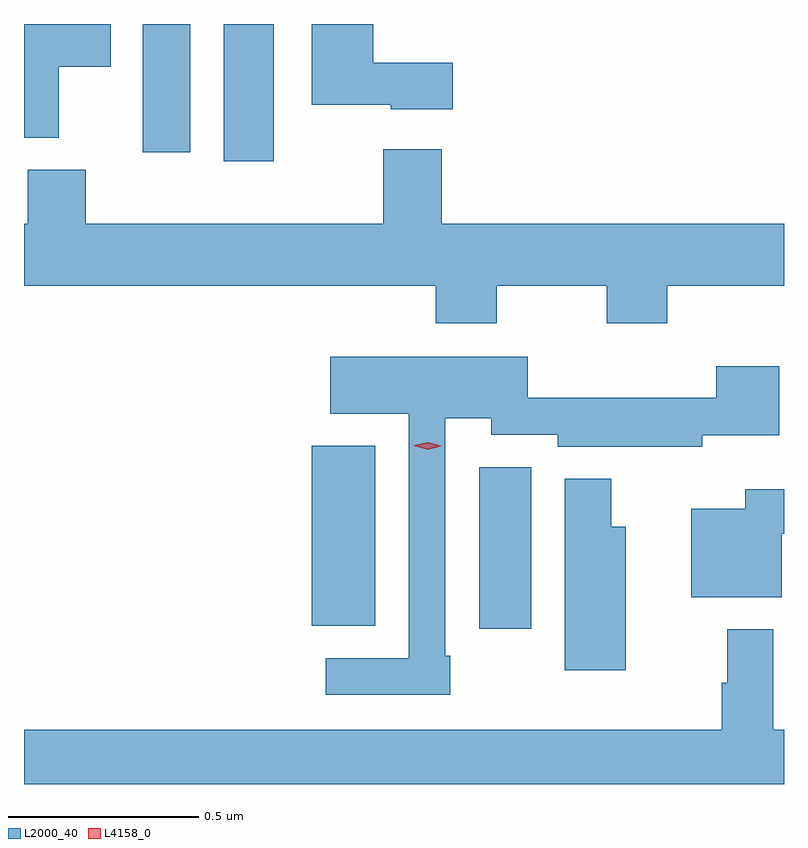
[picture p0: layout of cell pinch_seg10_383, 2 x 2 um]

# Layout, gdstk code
import gdstk
lib = gdstk.Library(unit=1e-6, precision=1e-09)
def R(c, l, rs):  # rectangles x0, y0, x1, y1
    for r in rs: c.add(gdstk.rectangle(r[:2], r[2:], *l))
def P(c, l, *ps):  # polygons
    for p in ps: c.add(gdstk.Polygon(p, *l))
L2000_40 = (2000, 40)
L4158_0 = (4158, 0)

pinch_seg10_383 = lib.new_cell('pinch_seg10_383')
R(pinch_seg10_383, L2000_40, [(481.043,1252.794,481.18,1253.219), (480.602,1252.801,480.769,1253.275), (480.371,1254.024,480.502,1254.385), (480.158,1254.048,480.283,1254.385)])
P(pinch_seg10_383, L2000_40, [(480.973,1254.283),(480.764,1254.283),(480.764,1254.385),(480.602,1254.385),(480.602,1254.173),(480.81,1254.173),(480.81,1254.161),(480.973,1254.161)],
  [(479.937,1254.272),(480.073,1254.272),(480.073,1254.385),(479.845,1254.385),(479.845,1254.086),(479.937,1254.086)],
  [(481.089,1253.696),(481.378,1253.696),(481.378,1253.597),(481.538,1253.597),(481.538,1253.696),(481.845,1253.696),(481.845,1253.86),(480.944,1253.86),(480.944,1254.055),(480.791,1254.055),(480.791,1253.86),(480.008,1253.86),(480.008,1254.001),(479.855,1254.001),(479.855,1253.86),(479.845,1253.86),(479.845,1253.696),(480.929,1253.696),(480.929,1253.597),(481.089,1253.597)],
  [(480.967,1252.723),(480.954,1252.723),(480.954,1253.348),(481.074,1253.348),(481.074,1253.304),(481.25,1253.304),(481.25,1253.273),(481.63,1253.273),(481.63,1253.303),(481.832,1253.303),(481.832,1253.485),(481.667,1253.485),(481.667,1253.401),(481.17,1253.401),(481.17,1253.509),(480.651,1253.509),(480.651,1253.36),(480.858,1253.36),(480.858,1252.716),(480.639,1252.716),(480.639,1252.62),(480.967,1252.62)],
  [(481.429,1253.062),(481.39,1253.062),(481.39,1253.188),(481.268,1253.188),(481.268,1252.685),(481.429,1252.685)],
  [(481.839,1253.044),(481.845,1253.044),(481.845,1253.161),(481.743,1253.161),(481.743,1253.11),(481.601,1253.11),(481.601,1252.877),(481.839,1252.877)],
  [(479.845,1252.385),(481.845,1252.385),(481.845,1252.528),(481.817,1252.528),(481.817,1252.792),(481.696,1252.792),(481.696,1252.652),(481.681,1252.652),(481.681,1252.528),(479.845,1252.528)])
P(pinch_seg10_383, L4158_0, [(480.907,1253.265),(480.872,1253.275),(480.872,1253.276),(480.872,1253.276),(480.907,1253.285),(480.942,1253.275),(480.942,1253.275),(480.942,1253.274)])

lib.write_gds('pinch_seg10_383.gds')
